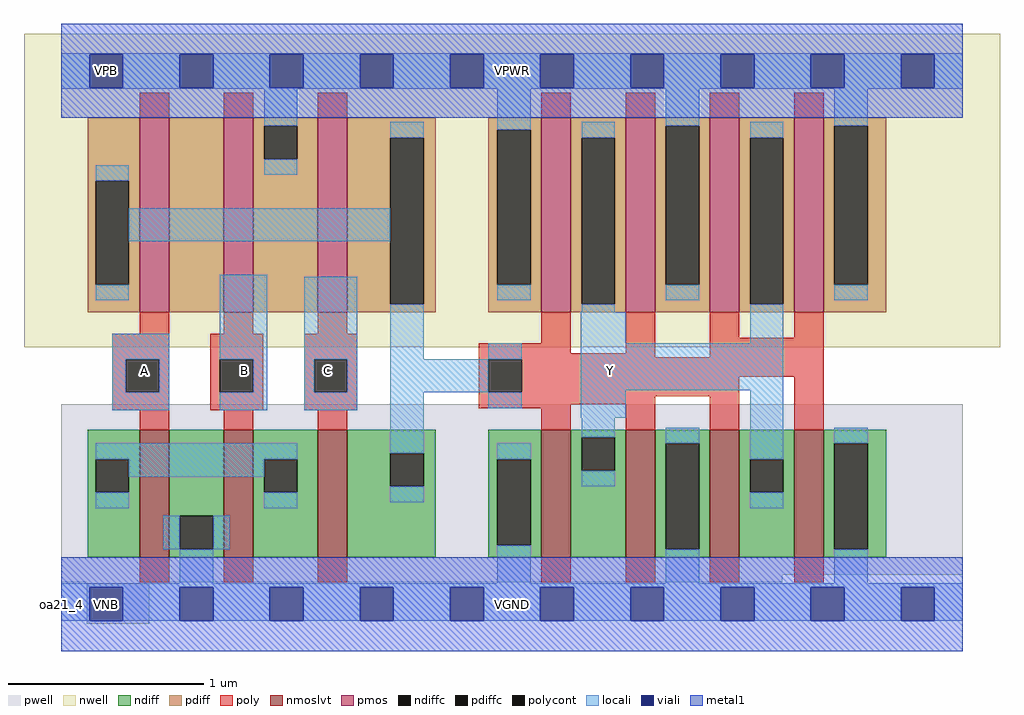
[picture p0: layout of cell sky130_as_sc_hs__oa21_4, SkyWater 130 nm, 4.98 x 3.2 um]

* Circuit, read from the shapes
.subckt sky130_as_sc_hs__oa21_4 VNB VPB VPWR VGND A B C Y
XM1 VGND A n1 VNB sky130_fd_pr__nfet_01v8_lvt w=0.65 l=0.15
XM2 n1 B VGND VNB sky130_fd_pr__nfet_01v8_lvt w=0.65 l=0.15
XM3 n2 C n1 VNB sky130_fd_pr__nfet_01v8_lvt w=0.65 l=0.15
XM4 Y n2 VGND VNB sky130_fd_pr__nfet_01v8_lvt w=0.65 l=0.15 m=4
XM5 n3 A n2 VPB sky130_fd_pr__pfet_01v8 w=0.99 l=0.15
XM6 VPWR B n3 VPB sky130_fd_pr__pfet_01v8 w=0.99 l=0.15
XM7 n2 C VPWR VPB sky130_fd_pr__pfet_01v8 w=0.99 l=0.15
XM8 Y n2 VPWR VPB sky130_fd_pr__pfet_01v8 w=0.99 l=0.15 m=4
.ends

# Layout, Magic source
magic
tech sky130A
magscale 1 2
<< nwell >>
rect -38 262 958 582
<< pwell >>
rect 0 30 920 204
rect 0 22 736 30
rect 26 -20 90 22
<< pmos >>
rect 80 298 110 496
rect 166 298 196 496
rect 262 298 292 496
rect 490 298 520 496
rect 576 298 606 496
rect 662 298 692 496
rect 748 298 778 496
<< nmoslvt >>
rect 80 48 110 178
rect 166 48 196 178
rect 262 48 292 178
rect 490 48 520 178
rect 576 48 606 178
rect 662 48 692 178
rect 748 48 778 178
<< ndiff >>
rect 27 148 80 178
rect 27 114 35 148
rect 69 114 80 148
rect 27 48 80 114
rect 110 90 166 178
rect 110 56 121 90
rect 155 56 166 90
rect 110 48 166 56
rect 196 148 262 178
rect 196 114 207 148
rect 241 114 262 148
rect 196 48 262 114
rect 292 154 382 178
rect 292 120 336 154
rect 370 120 382 154
rect 292 48 382 120
rect 436 148 490 178
rect 436 60 445 148
rect 479 60 490 148
rect 436 48 490 60
rect 520 170 576 178
rect 520 136 531 170
rect 565 136 576 170
rect 520 48 576 136
rect 606 164 662 178
rect 606 56 617 164
rect 651 56 662 164
rect 606 48 662 56
rect 692 148 748 178
rect 692 114 703 148
rect 737 114 748 148
rect 692 48 748 114
rect 778 164 842 178
rect 778 56 789 164
rect 823 56 842 164
rect 778 48 842 56
<< pdiff >>
rect 27 432 80 496
rect 27 326 35 432
rect 69 326 80 432
rect 27 298 80 326
rect 110 298 166 496
rect 196 488 262 496
rect 196 454 207 488
rect 241 454 262 488
rect 196 298 262 454
rect 292 476 382 496
rect 292 306 336 476
rect 370 306 382 476
rect 292 298 382 306
rect 436 484 490 496
rect 436 326 445 484
rect 479 326 490 484
rect 436 298 490 326
rect 520 476 576 496
rect 520 306 531 476
rect 565 306 576 476
rect 520 298 576 306
rect 606 488 662 496
rect 606 326 617 488
rect 651 326 662 488
rect 606 298 662 326
rect 692 476 748 496
rect 692 306 703 476
rect 737 306 748 476
rect 692 298 748 306
rect 778 488 842 496
rect 778 326 789 488
rect 823 326 842 488
rect 778 298 842 326
<< ndiffc >>
rect 35 114 69 148
rect 121 56 155 90
rect 207 114 241 148
rect 336 120 370 154
rect 445 60 479 148
rect 531 136 565 170
rect 617 56 651 164
rect 703 114 737 148
rect 789 56 823 164
<< pdiffc >>
rect 35 326 69 432
rect 207 454 241 488
rect 336 306 370 476
rect 445 326 479 484
rect 531 306 565 476
rect 617 326 651 488
rect 703 306 737 476
rect 789 326 823 488
<< poly >>
rect 80 496 110 522
rect 166 496 196 522
rect 262 496 292 522
rect 490 496 520 522
rect 576 496 606 522
rect 662 496 692 522
rect 748 496 778 522
rect 80 276 110 298
rect 166 276 196 298
rect 262 276 292 298
rect 52 250 110 276
rect 52 216 66 250
rect 100 216 110 250
rect 52 198 110 216
rect 152 250 206 276
rect 152 216 162 250
rect 196 216 206 250
rect 152 198 206 216
rect 248 250 302 276
rect 490 266 520 298
rect 248 216 258 250
rect 292 216 302 250
rect 248 198 302 216
rect 426 256 520 266
rect 576 256 606 298
rect 426 252 606 256
rect 662 272 692 298
rect 748 272 778 298
rect 662 252 778 272
rect 426 250 778 252
rect 426 216 436 250
rect 470 232 778 250
rect 470 216 692 232
rect 426 212 692 216
rect 426 204 606 212
rect 426 200 520 204
rect 80 178 110 198
rect 166 178 196 198
rect 262 178 292 198
rect 490 178 520 200
rect 576 178 606 204
rect 662 178 692 212
rect 748 178 778 232
rect 80 22 110 48
rect 166 22 196 48
rect 262 22 292 48
rect 490 22 520 48
rect 576 22 606 48
rect 662 22 692 48
rect 748 22 778 48
<< polycont >>
rect 66 216 100 250
rect 162 216 196 250
rect 258 216 292 250
rect 436 216 470 250
<< locali >>
rect 0 561 920 562
rect 0 527 29 561
rect 63 527 121 561
rect 155 527 213 561
rect 247 527 305 561
rect 339 527 397 561
rect 431 527 489 561
rect 523 527 581 561
rect 615 527 673 561
rect 707 527 765 561
rect 799 527 857 561
rect 891 527 920 561
rect 0 526 920 527
rect 207 488 241 526
rect 35 432 69 448
rect 207 438 241 454
rect 336 476 370 492
rect 69 370 336 404
rect 35 310 69 326
rect 52 250 110 276
rect 52 216 66 250
rect 100 216 110 250
rect 52 198 110 216
rect 162 250 210 336
rect 196 216 210 250
rect 162 198 210 216
rect 248 250 302 334
rect 248 216 258 250
rect 292 216 302 250
rect 248 198 302 216
rect 445 484 479 526
rect 445 310 479 326
rect 531 476 565 492
rect 336 250 370 306
rect 617 488 651 526
rect 617 310 651 326
rect 703 476 737 492
rect 531 298 565 306
rect 789 488 823 526
rect 789 310 823 326
rect 530 266 576 298
rect 703 266 737 306
rect 436 250 470 266
rect 336 216 436 250
rect 35 148 241 164
rect 69 130 207 148
rect 35 98 69 114
rect 207 98 241 114
rect 336 154 370 216
rect 436 200 470 216
rect 530 218 737 266
rect 530 190 576 218
rect 531 170 565 190
rect 336 104 370 120
rect 445 148 479 164
rect 104 56 121 90
rect 155 56 172 90
rect 531 120 565 136
rect 617 164 651 180
rect 121 21 155 56
rect 445 21 479 60
rect 703 148 737 218
rect 703 98 737 114
rect 789 164 823 180
rect 617 21 651 56
rect 789 21 823 56
rect 0 17 920 21
rect 0 -17 29 17
rect 63 -17 121 17
rect 155 -17 213 17
rect 247 -17 305 17
rect 339 -17 397 17
rect 431 -17 489 17
rect 523 -17 581 17
rect 615 -17 673 17
rect 707 -17 765 17
rect 799 -17 857 17
rect 891 -17 920 17
<< viali >>
rect 29 527 63 561
rect 121 527 155 561
rect 213 527 247 561
rect 305 527 339 561
rect 397 527 431 561
rect 489 527 523 561
rect 581 527 615 561
rect 673 527 707 561
rect 765 527 799 561
rect 857 527 891 561
rect 29 -17 63 17
rect 121 -17 155 17
rect 213 -17 247 17
rect 305 -17 339 17
rect 397 -17 431 17
rect 489 -17 523 17
rect 581 -17 615 17
rect 673 -17 707 17
rect 765 -17 799 17
rect 857 -17 891 17
<< metal1 >>
rect 0 561 920 592
rect 0 527 29 561
rect 63 527 121 561
rect 155 527 213 561
rect 247 527 305 561
rect 339 527 397 561
rect 431 527 489 561
rect 523 527 581 561
rect 615 527 673 561
rect 707 527 765 561
rect 799 527 857 561
rect 891 527 920 561
rect 0 496 920 527
rect 0 17 920 48
rect 0 -17 29 17
rect 63 -17 121 17
rect 155 -17 213 17
rect 247 -17 305 17
rect 339 -17 397 17
rect 431 -17 489 17
rect 523 -17 581 17
rect 615 -17 673 17
rect 707 -17 765 17
rect 799 -17 857 17
rect 891 -17 920 17
rect 0 -48 920 -17
<< labels >>
rlabel comment s 0 0 0 0 4 oa21_4
flabel pwell s 29 -17 63 17 0 FreeSans 200 0 0 0 VNB
port 1 nsew ground bidirectional
flabel pwell s 46 0 46 0 0 FreeSans 200 0 0 0 VNB
flabel nwell s 29 527 63 561 0 FreeSans 200 0 0 0 VPB
port 2 nsew power bidirectional
flabel nwell s 46 544 46 544 0 FreeSans 200 0 0 0 VPB
flabel metal1 s 29 527 63 561 0 FreeSans 200 0 0 0 VPWR
port 3 nsew power bidirectional abutment
flabel metal1 s 29 -17 63 17 0 FreeSans 200 0 0 0 VGND
port 4 nsew ground bidirectional abutment
rlabel metal1 s 0 -48 920 48 1 VGND
port 4 nsew ground bidirectional abutment
rlabel metal1 s 0 496 920 592 1 VPWR
port 3 nsew power bidirectional abutment
flabel locali s 68 221 102 255 0 FreeSans 200 0 0 0 A
port 5 nsew signal input
flabel locali s 85 238 85 238 0 FreeSans 200 0 0 0 A
flabel locali s 170 221 204 255 0 FreeSans 200 0 0 0 B
port 6 nsew signal input
flabel locali s 187 238 187 238 0 FreeSans 200 0 0 0 B
flabel locali s 255 221 289 255 0 FreeSans 200 0 0 0 C
port 7 nsew signal input
flabel locali s 272 238 272 238 0 FreeSans 200 0 0 0 C
flabel locali s 544 221 578 255 0 FreeSans 200 0 0 0 Y
port 8 nsew signal output
flabel locali s 561 238 561 238 0 FreeSans 200 0 0 0 Y
<< properties >>
string FIXED_BBOX 0 0 920 544
string GDS_FILE $PDKPATH/libs.ref/sky130_as_sc_hs/gds/sky130_as_sc_hs__oa21_4.gds
string LEFclass CORE
string LEFsite unithd
string LEFsymmetry X Y R90
string MASKHINTS_LVTN 0 -4 920 220
string MASKHINTS_NSDM 0 -38 920 209
string MASKHINTS_PSDM 0 273 920 582
<< end >>
